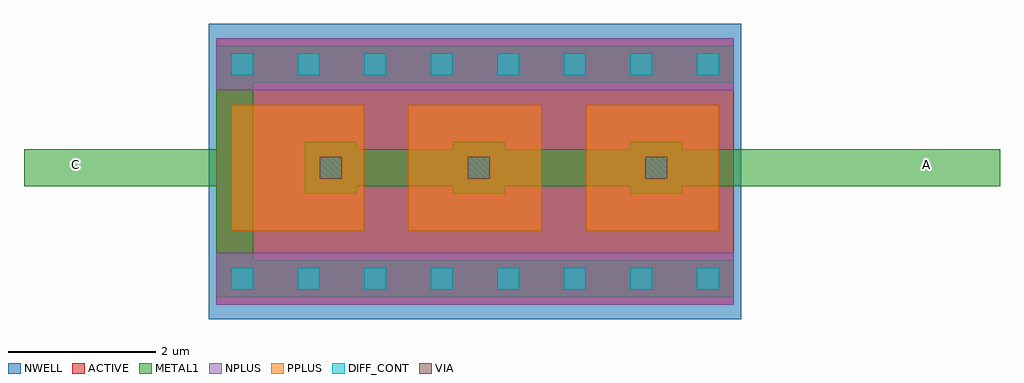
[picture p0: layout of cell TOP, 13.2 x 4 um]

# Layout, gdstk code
import gdstk
lib = gdstk.Library(unit=1e-6, precision=1e-09)
def R(c, l, rs):  # rectangles x0, y0, x1, y1
    for r in rs: c.add(gdstk.rectangle(r[:2], r[2:], *l))
def A(c, l, x, y, w, h, nx, ny, dx, dy):  # array of equal rectangles
    R(c, l, [(x+i*dx, y+j*dy, x+i*dx+w, y+j*dy+h) for i in range(nx) for j in range(ny)])
NWELL = (1, 0)
ACTIVE = (2, 0)
DIFF_CONT = (4, 0)
METAL1 = (6, 0)
VIA = (7, 0)
PPLUS = (9, 0)
NPLUS = (10, 0)

top = lib.new_cell('TOP')
R(top, NWELL, [(-3.5,-2.2,3.7,1.8)])
R(top, ACTIVE, [(-3.4,-2,3.6,1.6)])
A(top, DIFF_CONT, -3.2, -1.8, 0.3, 0.3, 8, 2, 0.9, 2.9)
R(top, DIFF_CONT, [(-2,-0.3,-1.7,0), (0,-0.3,0.3,0), (2.4,-0.3,2.7,0)])
R(top, METAL1, [(-3.4,-1.9,-2.9,1.5), (-3.4,-1.9,3.6,-1.4), (-2.2,-0.5,-1.5,0.2), (-0.2,-0.5,0.5,0.2), (2.2,-0.5,2.9,0.2), (-6,-0.4,-2.9,0.1), (-1.6,-0.4,7.2,0.1), (-3.4,1,3.6,1.5)])
R(top, VIA, [(-2,-0.3,-1.7,0), (0,-0.3,0.3,0), (2.4,-0.3,2.7,0)])
A(top, PPLUS, -3.2, -1, 1.8, 1.7, 3, 1, 2.4, 0)
R(top, NPLUS, [(-3.4,-2,3.6,-1.3), (-3.4,0.9,3.6,1.6)])
top.add(gdstk.Label('C', (-5.3,-0.1), layer=6, texttype=1))
top.add(gdstk.Label('A', (6.2,-0.1), layer=6, texttype=1))

lib.write_gds('TOP.gds')
